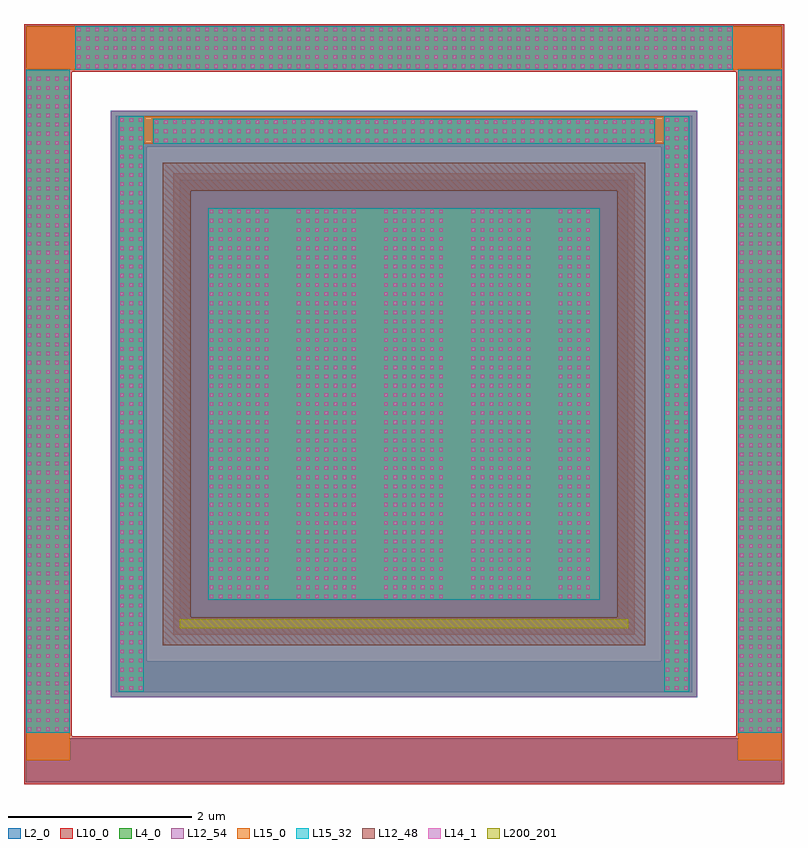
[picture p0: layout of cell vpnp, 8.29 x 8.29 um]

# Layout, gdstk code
import gdstk
lib = gdstk.Library(unit=1e-6, precision=1e-09)
def R(c, l, rs):  # rectangles x0, y0, x1, y1
    for r in rs: c.add(gdstk.rectangle(r[:2], r[2:], *l))
def A(c, l, x, y, w, h, nx, ny, dx, dy):  # array of equal rectangles
    R(c, l, [(x+i*dx, y+j*dy, x+i*dx+w, y+j*dy+h) for i in range(nx) for j in range(ny)])
L2_0 = (2, 0)
L4_0 = (4, 0)
L10_0 = (10, 0)
L12_48 = (12, 48)
L12_54 = (12, 54)
L14_1 = (14, 1)
L15_0 = (15, 0)
L15_32 = (15, 32)
L200_201 = (200, 201)

vpnp = lib.new_cell('vpnp')
R(vpnp, L2_0, [(-10.629,-2.659,-2.377,-2.179), (-10.629,-2.179,-10.149,5.113), (-2.857,-2.179,-2.377,5.113), (-9.649,-1.679,-3.357,-1.339), (-9.649,-1.339,-9.309,4.273), (-3.697,-1.339,-3.357,4.273), (-8.953,-0.983,-4.053,3.917), (-9.649,4.273,-3.357,4.613), (-10.629,5.113,-2.377,5.593)])
R(vpnp, L4_0, [(-9.705,-1.735,-3.301,4.669)])
R(vpnp, L10_0, [(-10.65,-2.68,-2.356,-2.158), (-10.65,-2.158,-10.128,5.092), (-2.878,-2.158,-2.356,5.092), (-9.023,-1.053,-3.983,3.987), (-10.65,5.092,-2.356,5.614)])
R(vpnp, L12_48, [(-9.134,-1.164,-3.872,-0.858), (-9.134,-0.858,-8.828,3.792), (-4.178,-0.858,-3.872,3.792), (-9.134,3.792,-3.872,4.098)])
R(vpnp, L12_54, [(-9.705,-1.735,-3.301,4.669)])
A(vpnp, L14_1, -10.609, -2.103, 0.04, 0.04, 5, 72, 0.1, 0.1)
A(vpnp, L14_1, -2.837, -2.103, 0.04, 0.04, 5, 72, 0.1, 0.1)
A(vpnp, L14_1, -9.599, -1.653, 0.04, 0.04, 3, 63, 0.1, 0.1)
A(vpnp, L14_1, -3.647, -1.653, 0.04, 0.04, 3, 63, 0.1, 0.1)
A(vpnp, L14_1, -8.623, -0.653, 0.04, 0.04, 7, 43, 0.1, 0.1)
A(vpnp, L14_1, -7.671, -0.653, 0.04, 0.04, 7, 43, 0.1, 0.1)
A(vpnp, L14_1, -6.719, -0.653, 0.04, 0.04, 7, 43, 0.1, 0.1)
A(vpnp, L14_1, -5.767, -0.653, 0.04, 0.04, 7, 43, 0.1, 0.1)
A(vpnp, L14_1, -4.815, -0.653, 0.04, 0.04, 4, 43, 0.1, 0.1)
A(vpnp, L14_1, -9.223, 4.323, 0.04, 0.04, 55, 3, 0.1, 0.1)
A(vpnp, L14_1, -10.073, 5.133, 0.04, 0.04, 72, 5, 0.1, 0.1)
R(vpnp, L15_0, [(-10.627,-2.419,-10.151,5.591), (-2.855,-2.419,-2.379,5.591), (-9.617,-1.671,-9.341,4.605), (-3.665,-1.671,-3.389,4.605), (-8.641,-0.671,-4.365,3.605), (-9.341,4.305,-3.665,4.605), (-10.151,5.115,-2.855,5.591)])
R(vpnp, L15_32, [(-10.627,-2.121,-10.151,5.115), (-2.855,-2.121,-2.379,5.115), (-9.617,-1.671,-9.341,4.605), (-3.665,-1.671,-3.389,4.605), (-8.641,-0.671,-4.365,3.605), (-9.241,4.305,-3.765,4.581), (-10.091,5.115,-2.915,5.591)])
R(vpnp, L200_201, [(-8.953,-0.983,-4.053,-0.883)])

lib.write_gds('vpnp.gds')
